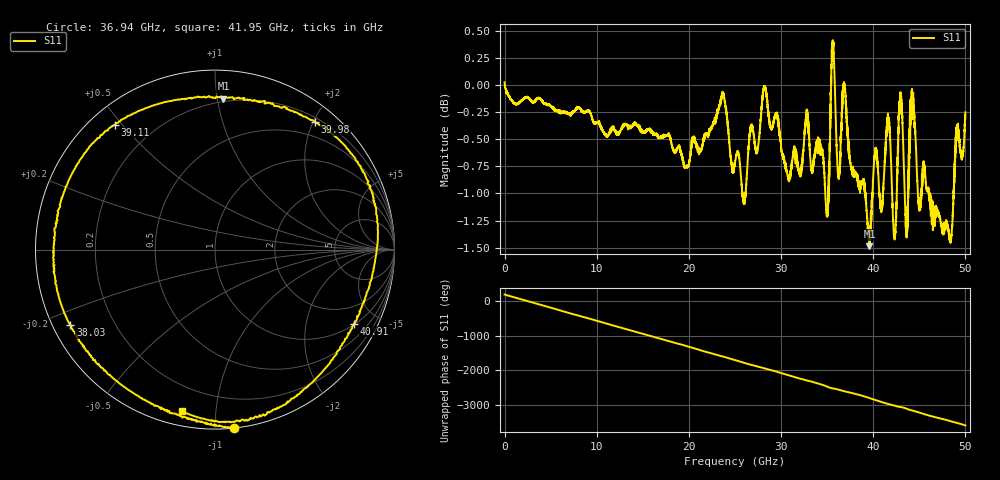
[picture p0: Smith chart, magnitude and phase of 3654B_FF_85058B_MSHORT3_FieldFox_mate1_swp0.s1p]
!Created with skrf (http://scikit-rf.org).
# Hz S RI R 50.0
!freq ReS11 ImS11
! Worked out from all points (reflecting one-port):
!   10000 points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, 5.3 MHz to 50 GHz, reference 50 ohm
!   lowest |S11| = -1.5 dB at 39.59 GHz (marker M1), VSWR 11.72, Z = 8.97 + j52.1 ohm
!   phase of S11 starts at 180 deg and turns -3760 deg over the sweep
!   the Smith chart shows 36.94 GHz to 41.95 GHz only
!   S11 on the Smith chart (normalised r, x): 36.94 GHz: 0.00, -1.11; 38.03 GHz: 0.05, -0.24; 39.11 GHz: 0.07, +0.48; 39.98 GHz: 0.26, +2.03; 40.91 GHz: 1.05, -3.73; 41.95 GHz: 0.07, -0.82
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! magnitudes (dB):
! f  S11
! 5.3 MHz  0.0
! 6.255 GHz  -0.2
! 12.51 GHz  -0.4
! 18.76 GHz  -0.6
! 23.67 GHz  -0.1
! 25.01 GHz  -0.7
! 26.02 GHz  -1.1
! 28.21 GHz  0.0
! 31.26 GHz  -0.7
! 32.81 GHz  -0.3
! 34.97 GHz  -1.2
! 35.6 GHz  0.4
! 36.22 GHz  -0.8
! 36.94 GHz  0.0
! 37.51 GHz  -0.7
! 38.03 GHz  -0.8
! 39.11 GHz  -1.0
! 39.59 GHz  -1.5
! 39.98 GHz  -0.9
! 40.91 GHz  -1.1
! 41.95 GHz  -0.7
! 42.35 GHz  -1.4
! 42.99 GHz  -0.1
! 43.76 GHz  -1.1
! 44.27 GHz  -0.1
! 44.99 GHz  -1.1
! 48.35 GHz  -1.4
! 50 GHz  -0.3
